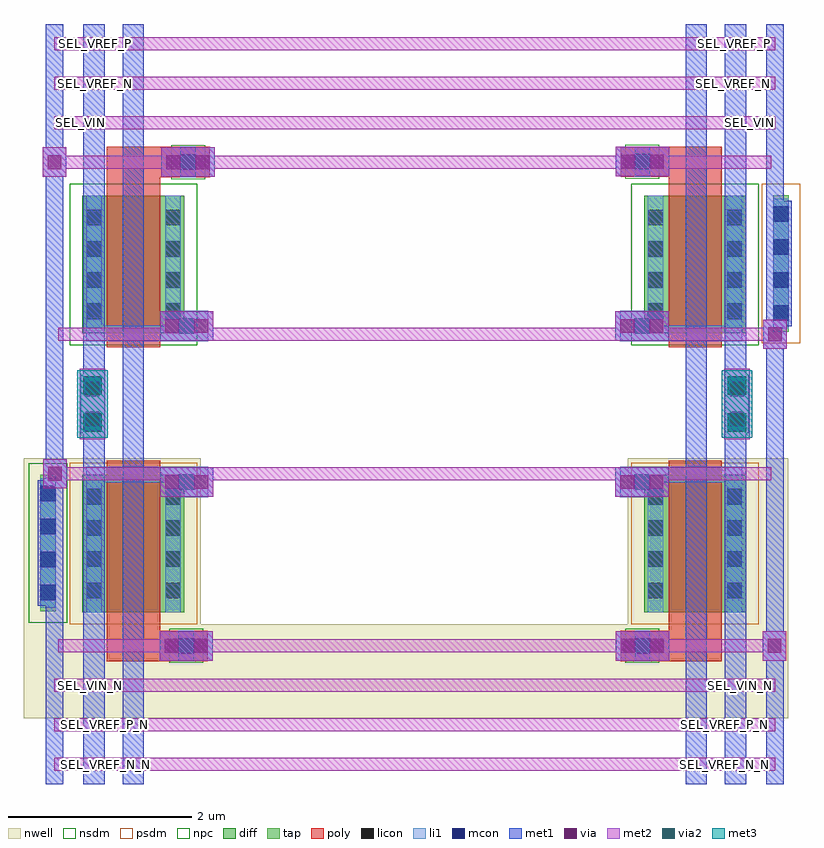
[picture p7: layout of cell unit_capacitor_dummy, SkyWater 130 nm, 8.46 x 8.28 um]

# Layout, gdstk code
import gdstk
lib = gdstk.Library(unit=1e-6, precision=1e-09)
def R(c, l, rs):  # rectangles x0, y0, x1, y1
    for r in rs: c.add(gdstk.rectangle(r[:2], r[2:], *l))
def A(c, l, x, y, w, h, nx, ny, dx, dy):  # array of equal rectangles
    R(c, l, [(x+i*dx, y+j*dy, x+i*dx+w, y+j*dy+h) for i in range(nx) for j in range(ny)])
nwell = (64, 20)
diff = (65, 20)
tap = (65, 44)
poly = (66, 20)
licon = (66, 44)
li1 = (67, 20)
mcon = (67, 44)
met1 = (68, 20)
via = (68, 44)
met2 = (69, 20)
via2 = (69, 44)
met3 = (70, 20)
nsdm = (93, 44)
psdm = (94, 20)
npc = (95, 20)

pfet_01v8_cdns_788522546 = lib.new_cell('pfet_01v8_CDNS_788522546425')
R(pfet_01v8_cdns_788522546, nwell, [(-0.445,-0.18,1.025,1.68)])
R(pfet_01v8_cdns_788522546, diff, [(-0.265,0,0,1.5), (0,0,0.58,1.5), (0.58,0,0.845,1.5)])
R(pfet_01v8_cdns_788522546, poly, [(0,-0.15,0.58,-0.095), (0,-0.095,0.58,0), (0,0,0.58,1.5), (0,1.5,0.58,1.595), (0,1.595,0.58,1.65)])
A(pfet_01v8_cdns_788522546, licon, -0.225, 0.155, 0.17, 0.17, 1, 4, 0, 0.34)
A(pfet_01v8_cdns_788522546, licon, 0.635, 0.155, 0.17, 0.17, 1, 4, 0, 0.34)
R(pfet_01v8_cdns_788522546, li1, [(-0.225,0,-0.055,1.5), (0.635,0,0.805,1.5)])
R(pfet_01v8_cdns_788522546, psdm, [(-0.405,-0.13,0.985,1.63)])

nfet_01v8_cdns_788522546 = lib.new_cell('nfet_01v8_CDNS_788522546426')
R(nfet_01v8_cdns_788522546, diff, [(-0.265,0,0,1.5), (0,0,0.58,1.5), (0.58,0,0.845,1.5)])
R(nfet_01v8_cdns_788522546, poly, [(0,-0.15,0.58,-0.095), (0,-0.095,0.58,0), (0,0,0.58,1.5), (0,1.5,0.58,1.595), (0,1.595,0.58,1.65)])
A(nfet_01v8_cdns_788522546, licon, -0.225, 0.155, 0.17, 0.17, 1, 4, 0, 0.34)
A(nfet_01v8_cdns_788522546, licon, 0.635, 0.155, 0.17, 0.17, 1, 4, 0, 0.34)
R(nfet_01v8_cdns_788522546, li1, [(-0.225,0,-0.055,1.5), (0.635,0,0.805,1.5)])
R(nfet_01v8_cdns_788522546, nsdm, [(-0.405,-0.13,0.985,1.63)])

unit_capacitor_dummy = lib.new_cell('unit_capacitor_dummy')
R(unit_capacitor_dummy, nwell, [(-0.12,0.715,8.21,1.74), (-0.12,1.7,0.41,3.55), (7.93,1.74,8.21,3.55)])
R(unit_capacitor_dummy, tap, [(0.06,1.88,0.23,3.37), (8.045,4.925,8.215,6.415)])
R(unit_capacitor_dummy, poly, [(1.415,1.34,1.885,1.67), (6.385,1.34,6.855,1.67), (1.435,6.61,1.905,6.94), (6.385,6.615,6.855,6.945)])
A(unit_capacitor_dummy, licon, 0.06, 2, 0.17, 0.17, 1, 4, 0, 0.36)
A(unit_capacitor_dummy, licon, 8.045, 5.045, 0.17, 0.17, 1, 4, 0, 0.36)
R(unit_capacitor_dummy, licon, [(1.565,1.42,1.735,1.59), (6.535,1.42,6.705,1.59), (1.585,6.69,1.755,6.86), (6.535,6.695,6.705,6.865)])
R(unit_capacitor_dummy, li1, [(1.565,1.34,1.735,1.67), (6.535,1.34,6.705,1.67), (0.06,1.92,0.23,3.33), (1.42,3.125,1.89,3.455), (6.38,3.125,6.85,3.455), (1.42,4.825,1.89,5.155), (6.38,4.825,6.85,5.155), (8.045,4.965,8.215,6.375), (1.585,6.61,1.755,6.94), (6.535,6.615,6.705,6.945)])
A(unit_capacitor_dummy, mcon, 0.06, 2, 0.17, 0.17, 1, 4, 0, 0.36)
A(unit_capacitor_dummy, mcon, 8.045, 5.045, 0.17, 0.17, 1, 4, 0, 0.36)
R(unit_capacitor_dummy, mcon, [(1.565,1.42,1.735,1.59), (6.535,1.42,6.705,1.59), (1.57,3.205,1.74,3.375), (6.53,3.205,6.7,3.375), (1.57,4.905,1.74,5.075), (6.53,4.905,6.7,5.075), (1.585,6.69,1.755,6.86), (6.535,6.695,6.705,6.865)])
R(unit_capacitor_dummy, met1, [(0.12,0,0.31,0.14), (0.53,0,0.76,0.14), (0.96,0,1.19,0.14), (7.09,0,7.32,0.14), (7.52,0,7.75,0.14), (7.97,0,8.16,0.14), (1.36,1.345,1.94,1.665), (1.36,1.345,1.94,1.665), (6.33,1.345,6.91,1.665), (6.33,1.345,6.91,1.665), (7.93,1.345,8.19,1.665), (0.03,1.94,0.26,3.31), (1.365,3.13,1.945,3.45), (1.365,3.13,1.945,3.45), (6.325,3.13,6.905,3.45), (6.325,3.13,6.905,3.45), (0.09,3.22,0.35,3.54), (0.5,3.82,0.76,4.46), (7.52,3.82,7.78,4.46), (7.935,4.74,8.195,5.06), (1.365,4.83,1.945,5.15), (1.365,4.83,1.945,5.15), (6.325,4.83,6.905,5.15), (6.325,4.83,6.905,5.15), (8.015,4.985,8.245,6.355), (0.085,6.615,0.345,6.935), (1.38,6.615,1.96,6.935), (1.38,6.615,1.96,6.935), (6.33,6.62,6.91,6.94), (6.33,6.62,6.91,6.94), (0.12,8.14,0.31,8.28), (0.53,8.14,0.76,8.28), (0.96,8.14,1.19,8.28), (7.09,8.14,7.32,8.28), (7.52,8.14,7.75,8.28), (7.97,8.14,8.16,8.28)])
R(unit_capacitor_dummy, via, [(1.415,1.43,1.565,1.58), (1.735,1.43,1.885,1.58), (6.385,1.43,6.535,1.58), (6.705,1.43,6.855,1.58), (7.985,1.43,8.135,1.58), (1.42,3.215,1.57,3.365), (1.74,3.215,1.89,3.365), (6.38,3.215,6.53,3.365), (6.7,3.215,6.85,3.365), (0.145,3.305,0.295,3.455), (0.555,3.905,0.705,4.055), (7.575,3.905,7.725,4.055), (0.555,4.225,0.705,4.375), (7.575,4.225,7.725,4.375), (7.99,4.825,8.14,4.975), (1.42,4.915,1.57,5.065), (1.74,4.915,1.89,5.065), (6.38,4.915,6.53,5.065), (6.7,4.915,6.85,5.065), (0.14,6.7,0.29,6.85), (1.435,6.7,1.585,6.85), (1.755,6.7,1.905,6.85), (6.385,6.705,6.535,6.855), (6.705,6.705,6.855,6.855)])
A(unit_capacitor_dummy, met2, 0.215, 0.145, 0.14, 0.14, 1, 3, 0, 0.43)
A(unit_capacitor_dummy, met2, 7.925, 0.145, 0.14, 0.14, 1, 3, 0, 0.43)
A(unit_capacitor_dummy, met2, 0.215, 7.135, 0.14, 0.14, 1, 3, 0, 0.43)
A(unit_capacitor_dummy, met2, 7.925, 7.135, 0.14, 0.14, 1, 3, 0, 0.43)
R(unit_capacitor_dummy, met2, [(1.36,1.345,1.94,1.665), (6.33,1.345,6.91,1.665), (7.93,1.345,8.19,1.665), (1.365,3.13,1.945,3.45), (6.325,3.13,6.905,3.45), (0.09,3.22,0.35,3.54), (0.49,3.755,0.77,4.525), (0.49,3.755,0.77,4.525), (7.51,3.755,7.79,4.525), (7.51,3.755,7.79,4.525), (7.935,4.74,8.195,5.06), (1.365,4.83,1.945,5.15), (6.325,4.83,6.905,5.15), (0.085,6.615,0.345,6.935), (1.38,6.615,1.96,6.935), (6.33,6.62,6.91,6.94)])
R(unit_capacitor_dummy, via2, [(0.53,3.84,0.73,4.04), (7.55,3.84,7.75,4.04), (0.53,4.24,0.73,4.44), (7.55,4.24,7.75,4.44)])
R(unit_capacitor_dummy, met3, [(0.465,3.775,0.795,4.505), (7.485,3.775,7.815,4.505)])
R(unit_capacitor_dummy, nsdm, [(-0.065,1.755,0.355,3.495)])
R(unit_capacitor_dummy, psdm, [(7.92,4.8,8.34,6.54)])
R(unit_capacitor_dummy, npc, [(1.465,1.32,1.835,1.69), (6.435,1.32,6.805,1.69), (1.485,6.59,1.855,6.96), (6.435,6.595,6.805,6.965)])
unit_capacitor_dummy.add(gdstk.FlexPath([(1.65,1.505),(1.415,1.505)], 0.33, ends=(0, 0.075), simple_path=True, layer=66, datatype=20))  # poly
unit_capacitor_dummy.add(gdstk.FlexPath([(1.075,1.72),(1.075,1.34)], 0.58, ends="flush", simple_path=True, layer=66, datatype=20))  # poly
unit_capacitor_dummy.add(gdstk.FlexPath([(7.195,6.56),(7.195,6.945)], 0.58, ends="flush", simple_path=True, layer=66, datatype=20))  # poly
unit_capacitor_dummy.add(gdstk.FlexPath([(6.855,6.78),(6.855,6.705)], 0.15, ends=(0.165, 0), simple_path=True, layer=66, datatype=20))  # poly
unit_capacitor_dummy.add(gdstk.FlexPath([(1.67,6.775),(1.435,6.775)], 0.33, ends=(0, 0.075), simple_path=True, layer=66, datatype=20))  # poly
unit_capacitor_dummy.add(gdstk.FlexPath([(6.62,6.78),(6.855,6.78)], 0.33, ends=(0, 0.075), simple_path=True, layer=66, datatype=20))  # poly
unit_capacitor_dummy.add(gdstk.FlexPath([(1.435,6.775),(1.435,6.845)], 0.15, ends=(0.165, 0), simple_path=True, layer=66, datatype=20))  # poly
unit_capacitor_dummy.add(gdstk.FlexPath([(7.195,1.72),(7.195,1.34)], 0.58, ends="flush", simple_path=True, layer=66, datatype=20))  # poly
unit_capacitor_dummy.add(gdstk.FlexPath([(6.855,1.505),(6.855,1.435)], 0.15, ends=(0.165, 0), simple_path=True, layer=66, datatype=20))  # poly
unit_capacitor_dummy.add(gdstk.FlexPath([(6.62,1.505),(6.855,1.505)], 0.33, ends=(0, 0.075), simple_path=True, layer=66, datatype=20))  # poly
unit_capacitor_dummy.add(gdstk.FlexPath([(1.415,1.505),(1.415,1.435)], 0.15, ends=(0.165, 0), simple_path=True, layer=66, datatype=20))  # poly
unit_capacitor_dummy.add(gdstk.FlexPath([(1.075,6.56),(1.075,6.94)], 0.58, ends="flush", simple_path=True, layer=66, datatype=20))  # poly
unit_capacitor_dummy.add(gdstk.FlexPath([(0.645,3.37),(1.59,3.37)], 0.17, ends=(0.085, 0), simple_path=True, layer=67, datatype=20))  # li1
unit_capacitor_dummy.add(gdstk.FlexPath([(0.645,4.91),(1.59,4.91)], 0.17, ends=(0.085, 0), simple_path=True, layer=67, datatype=20))  # li1
unit_capacitor_dummy.add(gdstk.FlexPath([(6.765,4.91),(7.71,4.91)], 0.17, ends=(0.085, 0), simple_path=True, layer=67, datatype=20))  # li1
unit_capacitor_dummy.add(gdstk.FlexPath([(6.765,3.37),(7.71,3.37)], 0.17, ends=(0.085, 0), simple_path=True, layer=67, datatype=20))  # li1
unit_capacitor_dummy.add(gdstk.FlexPath([(0.645,8.14),(0.645,0)], 0.23, ends="flush", simple_path=True, layer=68, datatype=20))  # met1
unit_capacitor_dummy.add(gdstk.FlexPath([(7.635,8.28),(7.635,0.07)], 0.23, ends="flush", simple_path=True, layer=68, datatype=20))  # met1
unit_capacitor_dummy.add(gdstk.FlexPath([(0.215,8.21),(0.215,0.07)], 0.19, ends="flush", simple_path=True, layer=68, datatype=20))  # met1
unit_capacitor_dummy.add(gdstk.FlexPath([(1.075,8.21),(1.075,0.07)], 0.23, ends="flush", simple_path=True, layer=68, datatype=20))  # met1
unit_capacitor_dummy.add(gdstk.FlexPath([(8.065,8.21),(8.065,0.07)], 0.19, ends="flush", simple_path=True, layer=68, datatype=20))  # met1
unit_capacitor_dummy.add(gdstk.FlexPath([(7.205,8.21),(7.205,0.07)], 0.23, ends="flush", simple_path=True, layer=68, datatype=20))  # met1
unit_capacitor_dummy.add(gdstk.FlexPath([(0.255,1.505),(8.025,1.505)], 0.14, ends="flush", simple_path=True, layer=69, datatype=20))  # met2
unit_capacitor_dummy.add(gdstk.FlexPath([(0.255,4.9),(8.025,4.9)], 0.14, ends="flush", simple_path=True, layer=69, datatype=20))  # met2
unit_capacitor_dummy.add(gdstk.FlexPath([(0.255,7.635),(8.025,7.635)], 0.14, ends="flush", simple_path=True, layer=69, datatype=20))  # met2
unit_capacitor_dummy.add(gdstk.FlexPath([(0.255,3.38),(8.025,3.38)], 0.14, ends="flush", simple_path=True, layer=69, datatype=20))  # met2
unit_capacitor_dummy.add(gdstk.FlexPath([(0.255,6.775),(8.025,6.775)], 0.14, ends="flush", simple_path=True, layer=69, datatype=20))  # met2
unit_capacitor_dummy.add(gdstk.FlexPath([(0.255,8.065),(8.025,8.065)], 0.14, ends="flush", simple_path=True, layer=69, datatype=20))  # met2
unit_capacitor_dummy.add(gdstk.FlexPath([(0.255,7.205),(8.025,7.205)], 0.14, ends="flush", simple_path=True, layer=69, datatype=20))  # met2
unit_capacitor_dummy.add(gdstk.FlexPath([(0.255,0.215),(8.025,0.215)], 0.14, ends="flush", simple_path=True, layer=69, datatype=20))  # met2
unit_capacitor_dummy.add(gdstk.FlexPath([(0.255,0.645),(8.025,0.645)], 0.14, ends="flush", simple_path=True, layer=69, datatype=20))  # met2
unit_capacitor_dummy.add(gdstk.FlexPath([(0.255,1.075),(8.025,1.075)], 0.14, ends="flush", simple_path=True, layer=69, datatype=20))  # met2
unit_capacitor_dummy.add(gdstk.Reference(pfet_01v8_cdns_788522546, (6.905,1.87)))
unit_capacitor_dummy.add(gdstk.Reference(pfet_01v8_cdns_788522546, (0.785,1.87)))
unit_capacitor_dummy.add(gdstk.Reference(nfet_01v8_cdns_788522546, (6.905,4.91)))
unit_capacitor_dummy.add(gdstk.Reference(nfet_01v8_cdns_788522546, (0.785,4.91)))
unit_capacitor_dummy.add(gdstk.Label('SEL_VREF_N', (7.615,7.635), layer=69, texttype=5))
unit_capacitor_dummy.add(gdstk.Label('SEL_VIN', (7.785,7.205), layer=69, texttype=5))
unit_capacitor_dummy.add(gdstk.Label('SEL_VREF_P', (7.62,8.065), layer=69, texttype=5))
unit_capacitor_dummy.add(gdstk.Label('SEL_VREF_N_N', (7.51,0.215), layer=69, texttype=5))
unit_capacitor_dummy.add(gdstk.Label('SEL_VIN_N', (7.685,1.075), layer=69, texttype=5))
unit_capacitor_dummy.add(gdstk.Label('SEL_VREF_P_N', (7.52,0.645), layer=69, texttype=5))
unit_capacitor_dummy.add(gdstk.Label('SEL_VREF_N_N', (0.775,0.215), layer=69, texttype=5))
unit_capacitor_dummy.add(gdstk.Label('SEL_VIN_N', (0.605,1.075), layer=69, texttype=5))
unit_capacitor_dummy.add(gdstk.Label('SEL_VREF_P_N', (0.765,0.645), layer=69, texttype=5))
unit_capacitor_dummy.add(gdstk.Label('SEL_VREF_N', (0.665,7.635), layer=69, texttype=5))
unit_capacitor_dummy.add(gdstk.Label('SEL_VIN', (0.5,7.205), layer=69, texttype=5))
unit_capacitor_dummy.add(gdstk.Label('SEL_VREF_P', (0.665,8.065), layer=69, texttype=5))
unit_capacitor_dummy.add(gdstk.Label('VREF_P', (0.6,0.07), layer=68, texttype=5))
unit_capacitor_dummy.add(gdstk.Label('VIN', (1.03,0.07), layer=68, texttype=5))
unit_capacitor_dummy.add(gdstk.Label('VDD', (0.19,0.07), layer=68, texttype=5))
unit_capacitor_dummy.add(gdstk.Label('VSS', (8.04,0.07), layer=68, texttype=5))
unit_capacitor_dummy.add(gdstk.Label('VIN', (7.16,0.07), layer=68, texttype=5))
unit_capacitor_dummy.add(gdstk.Label('VREF_N', (7.59,0.07), layer=68, texttype=5))
unit_capacitor_dummy.add(gdstk.Label('VSS', (8.04,8.21), layer=68, texttype=5))
unit_capacitor_dummy.add(gdstk.Label('VIN', (7.16,8.21), layer=68, texttype=5))
unit_capacitor_dummy.add(gdstk.Label('VREF_N', (7.59,8.21), layer=68, texttype=5))
unit_capacitor_dummy.add(gdstk.Label('VREF_P', (0.6,8.21), layer=68, texttype=5))
unit_capacitor_dummy.add(gdstk.Label('VIN', (1.03,8.21), layer=68, texttype=5))
unit_capacitor_dummy.add(gdstk.Label('VDD', (0.19,8.21), layer=68, texttype=5))

lib.write_gds('unit_capacitor_dummy.gds')
